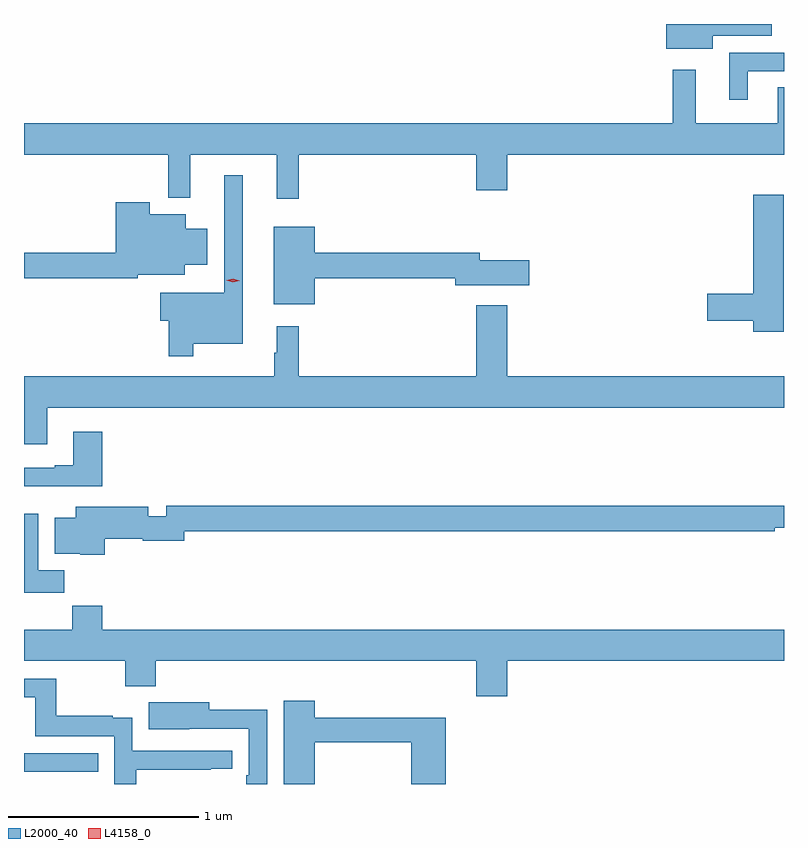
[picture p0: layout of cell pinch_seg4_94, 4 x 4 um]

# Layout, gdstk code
import gdstk
lib = gdstk.Library(unit=1e-6, precision=1e-09)
def R(c, l, rs):  # rectangles x0, y0, x1, y1
    for r in rs: c.add(gdstk.rectangle(r[:2], r[2:], *l))
def P(c, l, *ps):  # polygons
    for p in ps: c.add(gdstk.Polygon(p, *l))
L2000_40 = (2000, 40)
L4158_0 = (4158, 0)

pinch_seg4_94 = lib.new_cell('pinch_seg4_94')
R(pinch_seg4_94, L2000_40, [(1025.765,805.56,1026.155,805.656)])
P(pinch_seg4_94, L2000_40, [(1029.391,809.433),(1029.7,809.433),(1029.7,809.495),(1029.146,809.495),(1029.146,809.366),(1029.391,809.366)],
  [(1029.574,809.247),(1029.765,809.247),(1029.765,809.343),(1029.476,809.343),(1029.476,809.097),(1029.574,809.097)],
  [(1027.211,808.808),(1028.144,808.808),(1028.144,808.62),(1028.308,808.62),(1028.308,808.808),(1029.765,808.808),(1029.765,809.162),(1029.731,809.162),(1029.731,808.972),(1029.301,808.972),(1029.301,809.254),(1029.18,809.254),(1029.18,808.972),(1025.765,808.972),(1025.765,808.808),(1026.523,808.808),(1026.523,808.58),(1026.641,808.58),(1026.641,808.808),(1027.094,808.808),(1027.094,808.575),(1027.211,808.575)],
  [(1026.655,807.812),(1026.916,807.812),(1026.916,808.699),(1026.819,808.699),(1026.819,808.081),(1026.482,808.081),(1026.482,807.934),(1026.526,807.934),(1026.526,807.747),(1026.655,807.747)],
  [(1029.763,808.597),(1029.602,808.597),(1029.602,808.076),(1029.36,808.076),(1029.36,807.934),(1029.602,807.934),(1029.602,807.876),(1029.763,807.876)],
  [(1026.364,808.175),(1026.61,808.175),(1026.61,808.229),(1026.73,808.229),(1026.73,808.417),(1026.616,808.417),(1026.616,808.495),(1026.426,808.495),(1026.426,808.558),(1026.248,808.558),(1026.248,808.292),(1025.765,808.292),(1025.765,808.156),(1026.364,808.156)],
  [(1027.294,808.156),(1028.036,808.156),(1028.036,808.121),(1028.425,808.121),(1028.425,808.251),(1028.164,808.251),(1028.164,808.292),(1027.294,808.292),(1027.294,808.429),(1027.079,808.429),(1027.079,808.019),(1027.294,808.019)],
  [(1025.887,807.476),(1029.765,807.476),(1029.765,807.64),(1028.308,807.64),(1028.308,808.015),(1028.144,808.015),(1028.144,807.64),(1027.211,807.64),(1027.211,807.904),(1027.094,807.904),(1027.094,807.764),(1027.083,807.764),(1027.083,807.64),(1025.765,807.64),(1025.765,807.282),(1025.887,807.282)],
  [(1026.176,807.349),(1026.023,807.349),(1026.023,807.172),(1025.927,807.172),(1025.927,807.159),(1025.765,807.159),(1025.765,807.062),(1026.176,807.062)],
  [(1026.191,806.787),(1026.39,806.787),(1026.39,806.775),(1026.609,806.775),(1026.609,806.824),(1029.716,806.824),(1029.716,806.844),(1029.765,806.844),(1029.765,806.96),(1026.513,806.96),(1026.513,806.903),(1026.418,806.903),(1026.418,806.953),(1026.038,806.953),(1026.038,806.896),(1025.927,806.896),(1025.927,806.708),(1026.06,806.708),(1026.06,806.702),(1026.191,806.702)],
  [(1025.978,806.62),(1025.839,806.62),(1025.839,806.917),(1025.765,806.917),(1025.765,806.502),(1025.978,806.502)],
  [(1028.308,806.144),(1029.765,806.144),(1029.765,806.308),(1026.176,806.308),(1026.176,806.432),(1026.019,806.432),(1026.019,806.308),(1025.765,806.308),(1025.765,806.144),(1026.298,806.144),(1026.298,806.009),(1026.458,806.009),(1026.458,806.144),(1028.144,806.144),(1028.144,805.956),(1028.308,805.956)],
  [(1026.356,805.57),(1026.749,805.57),(1026.749,805.575),(1026.862,805.575),(1026.862,805.671),(1026.336,805.671),(1026.336,805.843),(1026.233,805.843),(1026.233,805.855),(1025.935,805.855),(1025.935,806.049),(1025.765,806.049),(1025.765,805.952),(1025.824,805.952),(1025.824,805.746),(1026.24,805.746),(1026.24,805.495),(1026.356,805.495)],
  [(1027.294,805.714),(1027.802,805.714),(1027.802,805.495),(1027.985,805.495),(1027.985,805.843),(1027.294,805.843),(1027.294,805.933),(1027.133,805.933),(1027.133,805.495),(1027.294,805.495)],
  [(1027.044,805.886),(1026.739,805.886),(1026.739,805.924),(1026.421,805.924),(1026.421,805.784),(1026.635,805.784),(1026.635,805.785),(1026.948,805.785),(1026.948,805.54),(1026.935,805.54),(1026.935,805.495),(1027.044,805.495)])
P(pinch_seg4_94, L4158_0, [(1026.864,808.135),(1026.83,808.146),(1026.829,808.146),(1026.83,808.147),(1026.865,808.155),(1026.9,808.144),(1026.9,808.144),(1026.9,808.144)])

lib.write_gds('pinch_seg4_94.gds')
